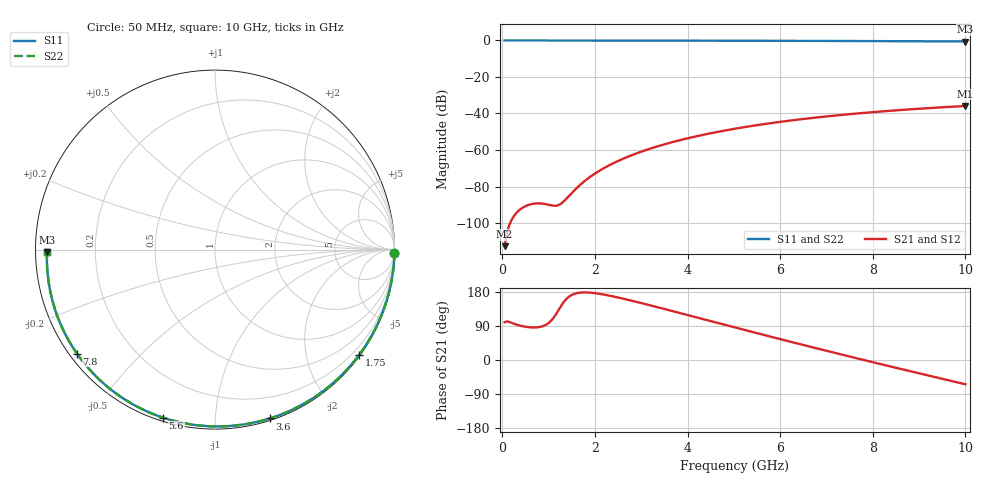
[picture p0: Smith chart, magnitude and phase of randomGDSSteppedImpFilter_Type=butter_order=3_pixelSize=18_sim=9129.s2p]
! freq	dB(S11)	phase(S11)	dB(S12)	phase(S12)
!  dB(S21)	phase(S21)	dB(S22)	phase(S22)
!S-par simulation data
#  GHz  S  DB  R 50
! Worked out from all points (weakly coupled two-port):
!   200 points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, 50 MHz to 10 GHz, reference 50 ohm
!   highest |S21| = -35.89 dB at 10 GHz (marker M1); lowest = -112.7 dB at 50 MHz (marker M2)
!   lowest |S11| = -0.6 dB at 10 GHz (marker M3), VSWR 30.36, Z = 1.65 - j0.386 ohm
!   |S11| at or under -10 dB: nowhere
!   |S22| runs from -0.6 to 0.0 dB; largest |S21 - S12| = 0
!   S11 on the Smith chart (normalised r, x): 50 MHz: open; 1.75 GHz: 0.03, -3.06; 3.6 GHz: 0.02, -1.38; 5.6 GHz: 0.02, -0.74; 7.8 GHz: 0.02, -0.33; 10 GHz: 0.03, -0.01
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0.05  -0.00 -1.1  -112.67 99.6  -112.67 99.6  -0.00 -1.1
0.4  -0.01 -8.4  -92.28 90.2  -92.28 90.2  -0.01 -8.4
0.8  -0.02 -16.8  -89.22 86.9  -89.22 86.9  -0.02 -16.8
1.6  -0.04 -33.2  -80.98 176.1  -80.98 176.1  -0.04 -33.2
1.65  -0.04 -34.2  -79.79 177.3  -79.79 177.3  -0.04 -34.2
1.75  -0.05 -36.2  -77.58 178.3  -77.58 178.3  -0.05 -36.2
1.9  -0.05 -39.2  -74.66 177.7  -74.66 177.7  -0.05 -39.2
2.05  -0.05 -42.2  -72.12 175.6  -72.12 175.6  -0.05 -42.2
2.25  -0.06 -46.2  -69.17 171.4  -69.17 171.4  -0.06 -46.2
2.45  -0.06 -50.1  -66.61 166.3  -66.61 166.3  -0.06 -50.1
2.9  -0.08 -58.8  -61.83 153.3  -61.83 153.3  -0.08 -58.8
3.4  -0.09 -68.3  -57.63 137.8  -57.63 137.8  -0.09 -68.3
3.6  -0.10 -72.0  -56.18 131.5  -56.18 131.5  -0.10 -72.0
4.3  -0.12 -84.7  -51.87 109.1  -51.87 109.1  -0.12 -84.7
5.05  -0.15 -97.8  -48.22 85.1  -48.22 85.1  -0.15 -97.8
5.6  -0.18 -107.2  -46.00 67.7  -46.00 67.7  -0.18 -107.2
6.15  -0.21 -116.3  -44.09 50.5  -44.09 50.5  -0.21 -116.3
6.7  -0.24 -125.3  -42.42 33.4  -42.42 33.4  -0.24 -125.3
7.8  -0.33 -143.0  -39.69 0.1  -39.69 0.1  -0.33 -143.0
8.35  -0.38 -151.9  -38.56 -16.2  -38.56 -16.2  -0.38 -151.9
9.2  -0.47 -165.7  -37.06 -41.0  -37.06 -41.0  -0.47 -165.7
10  -0.57 -179.1  -35.89 -64.1  -35.89 -64.1  -0.57 -179.1
